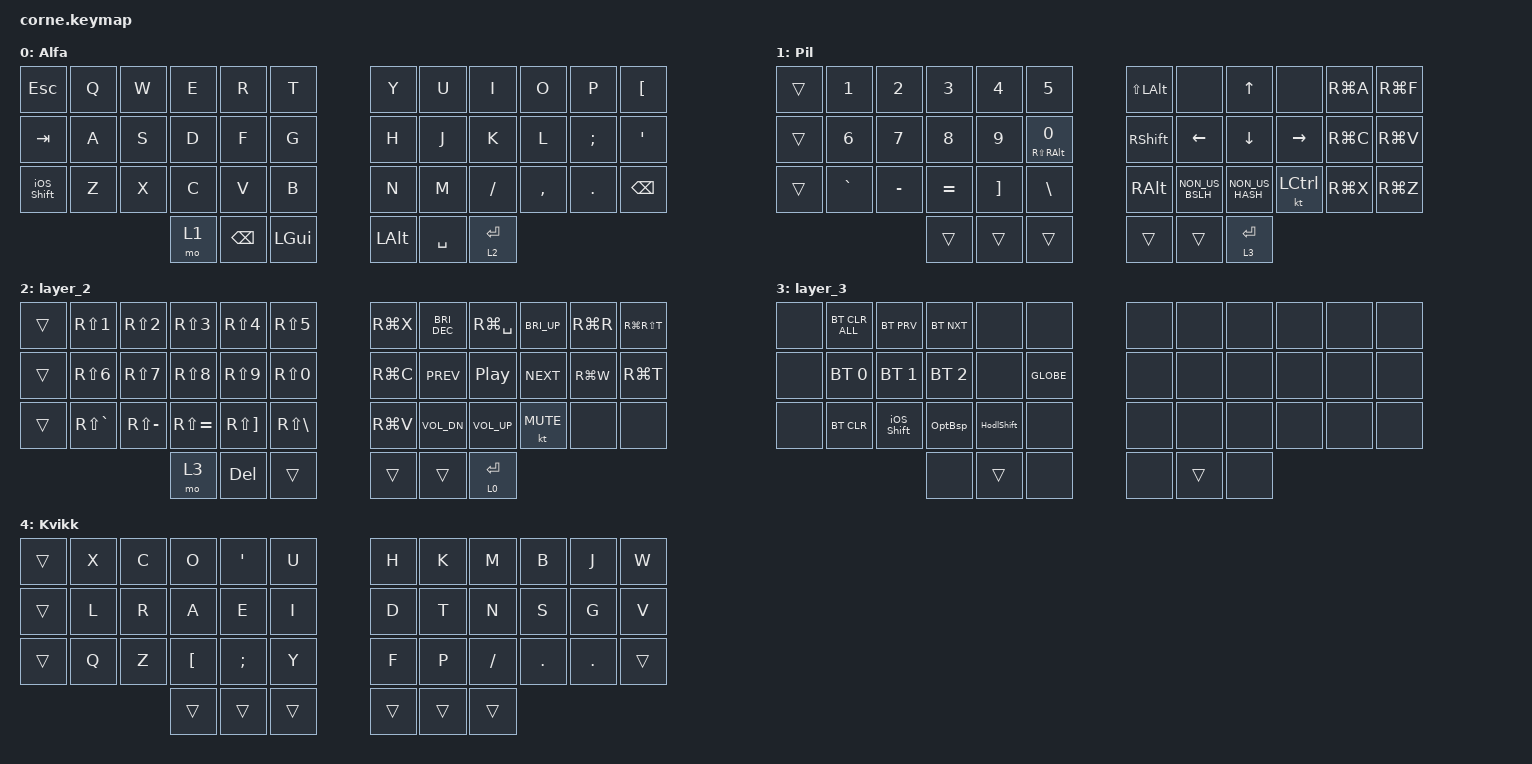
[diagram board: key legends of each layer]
/*
 * Copyright (c) 2020 The ZMK Contributors
 *
 * SPDX-License-Identifier: MIT
 */

#include <behaviors.dtsi>
#include <dt-bindings/zmk/bt.h>
#include <dt-bindings/zmk/keys.h>

/ {
    combos { compatible = "zmk,combos"; };

    behaviors {
        iOS_Shift: iOS_Shift {
            compatible = "zmk,behavior-tap-dance";
            label = "IOS_SHIFT";
            #binding-cells = <0>;
            bindings = <&sk LSHIFT>, <&kt LSHIFT>;
        };

        OptBsp: OptBsp {
            compatible = "zmk,behavior-tap-dance";
            label = "OPTBSP";
            #binding-cells = <0>;
            bindings = <&kp BACKSPACE>, <&kp LA(BACKSPACE)>;
        };

        HodlShift: HodlShift {
            compatible = "zmk,behavior-tap-dance";
            label = "HODLSHIFT";
            #binding-cells = <0>;
            bindings = <&sk LSHIFT>, <&caps_word>;
        };
    };

    keymap {
        compatible = "zmk,keymap";

        Alfa {
            // -----------------------------------------------------------------------------------------
            // |  TAB |  Q  |  W  |  E  |  R  |  T  |   |  Y  |  U   |  I  |  O  |  P  | BKSP |
            // | CTRL |  A  |  S  |  D  |  F  |  G  |   |  H  |  J   |  K  |  L  |  ;  |  '   |
            // | SHFT |  Z  |  X  |  C  |  V  |  B  |   |  N  |  M   |  ,  |  .  |  /  | ESC  |
            //                    | GUI | LWR | SPC |   | ENT | RSE  | ALT |

            bindings = <
&kp ESC     &kp Q  &kp W  &kp E  &kp R     &kp T           &kp Y         &kp U      &kp I        &kp O      &kp P          &kp LEFT_BRACKET
&kp TAB     &kp A  &kp S  &kp D  &kp F     &kp G           &kp H         &kp J      &kp K        &kp L      &kp SEMICOLON  &kp SINGLE_QUOTE
&iOS_Shift  &kp Z  &kp X  &kp C  &kp V     &kp B           &kp N         &kp M      &kp SLASH    &kp COMMA  &kp PERIOD     &kp BACKSPACE
                          &mo 1  &kp BSPC  &kp LEFT_GUI    &kp LEFT_ALT  &kp SPACE  &lt 2 ENTER
            >;
        };

        Pil {
            bindings = <
&trans  &kp NUMBER_1  &kp NUMBER_2  &kp NUMBER_3  &kp NUMBER_4       &kp N5                        &kp LS(LEFT_ALT)  &none            &kp UP_ARROW     &none      &kp RG(A)  &kp RG(F)
&trans  &kp NUMBER_6  &kp N7        &kp N8        &kp N9             &mt RS(RIGHT_ALT) NUMBER_0    &kp RIGHT_SHIFT   &kp LEFT         &kp DOWN         &kp RIGHT  &kp RG(C)  &kp RG(V)
&trans  &kp GRAVE     &kp MINUS     &kp EQUAL     &kp RIGHT_BRACKET  &kp BACKSLASH                 &kp RIGHT_ALT     &kp NON_US_BSLH  &kp NON_US_HASH  &kt LCTRL  &kp RG(X)  &kp RG(Z)
                                    &trans        &trans             &trans                        &trans            &trans           &lt 3 ENTER
            >;
        };

        layer_2 {
            bindings = <
&trans  &kp RS(NUMBER_1)  &kp RS(NUMBER_2)  &kp RS(NUMBER_3)  &kp RS(NUMBER_4)       &kp RS(N5)           &kp RG(X)  &kp C_BRI_DEC  &kp RG(SPACE)     &kp C_BRI_UP  &kp RG(R)  &kp RG(RS(T))
&trans  &kp RS(NUMBER_6)  &kp RS(N7)        &kp RS(N8)        &kp RS(N9)             &kp RS(N0)           &kp RG(C)  &kp C_PREV     &kp C_PLAY_PAUSE  &kp C_NEXT    &kp RG(W)  &kp RG(T)
&trans  &kp RS(GRAVE)     &kp RS(MINUS)     &kp RS(EQUAL)     &kp RS(RIGHT_BRACKET)  &kp RS(BACKSLASH)    &kp RG(V)  &kp C_VOL_DN   &kp C_VOLUME_UP   &kt C_MUTE    &none      &none
                                            &mo 3             &kp DELETE             &trans               &trans     &trans         &lt 0 ENTER
            >;
        };

        layer_3 {
            bindings = <
&none  &bt BT_CLR_ALL  &bt BT_PRV    &bt BT_NXT    &none       &none        &none  &none   &none  &none  &none  &none
&none  &bt BT_SEL 0    &bt BT_SEL 1  &bt BT_SEL 2  &none       &kp GLOBE    &none  &none   &none  &none  &none  &none
&none  &bt BT_CLR      &iOS_Shift    &OptBsp       &HodlShift  &none        &none  &none   &none  &none  &none  &none
                                     &none         &trans      &none        &none  &trans  &none
            >;
        };

        Kvikk {
            bindings = <
&trans  &kp X  &kp C  &kp O     &kp APOS  &kp U     &kp H   &kp K   &kp M      &kp B    &kp J    &kp W
&trans  &kp L  &kp R  &kp A     &kp E     &kp I     &kp D   &kp T   &kp N      &kp S    &kp G    &kp V
&trans  &kp Q  &kp Z  &kp LBKT  &kp SEMI  &kp Y     &kp F   &kp P   &kp SLASH  &kp DOT  &kp DOT  &trans
                      &trans    &trans    &trans    &trans  &trans  &trans
            >;
        };
    };
};
